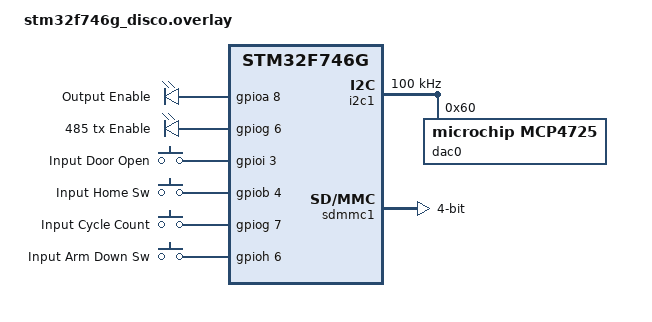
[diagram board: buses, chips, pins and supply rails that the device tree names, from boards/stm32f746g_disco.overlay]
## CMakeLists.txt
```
# CMakeLists.txt

cmake_minimum_required(VERSION 3.20.0)

find_package(Zephyr REQUIRED HINTS $ENV{ZEPHYR_BASE})
project(hvac_sd_config)

add_definitions(-DLV_LVGL_H_INCLUDE_SIMPLE)

target_sources(app
    PRIVATE
        src/main.c
        src/gui.c
)

target_include_directories(app PRIVATE
    ${ZEPHYR_BASE}/../modules/fs/fatfs/include
)
```

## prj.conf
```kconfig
CONFIG_SYS_CLOCK_TICKS_PER_SEC=5000
CONFIG_MAIN_STACK_SIZE=2048

CONFIG_DISPLAY=y
CONFIG_LOG=y
#CONFIG_DISPLAY_LOG_LEVEL_ERR=y
#CONFIG_DISPLAY_LOG_LEVEL_ALL=y
#CONFIG_LOG_BACKEND_UART=y
CONFIG_SHELL=y

CONFIG_LVGL=y
CONFIG_LV_MEM_CUSTOM=y
CONFIG_LV_USE_LOG=y
CONFIG_LV_USE_LABEL=y
CONFIG_LV_USE_BTN=y
CONFIG_LV_USE_ARC=y
CONFIG_LV_USE_IMG=y
CONFIG_LV_USE_MONKEY=y
#CONFIG_LV_FONT_MONTSERRAT_14=y
CONFIG_LV_FONT_MONTSERRAT_18=y
CONFIG_LV_Z_MEM_POOL_SIZE=16384
CONFIG_LV_Z_SHELL=y
CONFIG_LV_Z_USE_FILESYSTEM=y

CONFIG_I2C=y
CONFIG_DAC=y
CONFIG_DAC_MCP4725=y

# STM32 SDMMC/MMC Support
CONFIG_DISK_ACCESS=y
#CONFIG_DISK_ACCESS_STM32_SDMMC=y
CONFIG_MMC_STACK=y
CONFIG_SDMMC_STACK=y

CONFIG_FILE_SYSTEM=y
CONFIG_FAT_FILESYSTEM_ELM=y
CONFIG_FILE_SYSTEM_SHELL=y

# STM32 HAL drivers
# CONFIG_USE_STM32_HAL_SD=y
# DMA support (often used with SDMMC)
CONFIG_DMA=y
CONFIG_CLOCK_CONTROL=y

# Memory Management (increased for SD operations)
CONFIG_HEAP_MEM_POOL_SIZE=32768
CONFIG_MAIN_STACK_SIZE=4096
CONFIG_SYSTEM_WORKQUEUE_STACK_SIZE=4096
CONFIG_ISR_STACK_SIZE=2048

# Power Management (important for SD card)
#CONFIG_PM=y
#CONFIG_PM_DEVICE=y

# Threading and Synchronization
CONFIG_MULTITHREADING=y

CONFIG_SERIAL=y
CONFIG_UART_INTERRUPT_DRIVEN=y

# Logging Configuration
CONFIG_LOG=y
CONFIG_LOG_DEFAULT_LEVEL=3
CONFIG_LOG_BUFFER_SIZE=1024
CONFIG_DISK_LOG_LEVEL_DBG=y
CONFIG_MMC_LOG_LEVEL_DBG=y
CONFIG_FS_LOG_LEVEL_DBG=y
# Threading and Synchronization
CONFIG_MULTITHREADING=y
CONFIG_TIMEOUT_64BIT=y
```

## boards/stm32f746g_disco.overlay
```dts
#include <zephyr/dt-bindings/pinctrl/stm32-pinctrl.h>
#include <zephyr/dt-bindings/gpio/gpio.h>
#include <zephyr/dt-bindings/i2c/i2c.h>

&i2c1 {
//compatible="st,stm32f401";
status = "okay";
clock-frequency = < I2C_BITRATE_STANDARD >;
dac0: mcp4725@60{
compatible = "microchip,mcp4725";
status = "okay";
reg = < 0x60 >;
#io-channel-cells = < 1 >;
};
};

&sdmmc1{
status="okay";
bus-width=<4>;
slot {
compatible="st,stm32-sdmmc-slot";
status="okay";
cap-sd-highspeed;
cap-mmc-highspeed;
bus-width=<4>;
sd-uhs-sdr12;
sd-uhs-sdr25;
mmc{
compatible="zephyr,sdmmc-disk";
status="okay";
disk-name="SD";
};
};
};
&dma2 {
status = "okay";
};

/ {
leds{
compatible="gpio-leds";
outputenable: output_enable {
gpios=<&gpioa 8 GPIO_ACTIVE_HIGH>;
label="Output Enable";
};
rs485txenable: rs485Tx_enable {
gpios=<&gpiog 6 GPIO_ACTIVE_HIGH>;
label="485 tx Enable";
};
};

buttons{
compatible="gpio-keys";
inputdooropen: input_dooropen {
gpios=<&gpioi 3 GPIO_ACTIVE_HIGH>;
label="Input Door Open";
zephyr,code = <INPUT_KEY_0>;
};
inputhomesw: input_homesw {
gpios=<&gpiob 4 GPIO_ACTIVE_HIGH>;
label="Input Home Sw";
zephyr,code = <INPUT_KEY_0>;
};
inputcyclecount: input_cyclecount{
gpios=<&gpiog 7 GPIO_ACTIVE_HIGH>;
label="Input Cycle Count";
zephyr,code = <INPUT_KEY_0>;
};
inputdownswitch: input_downsw{
gpios=<&gpioh 6 GPIO_ACTIVE_HIGH>;
label="Input Arm Down Sw";
zephyr,code = <INPUT_KEY_0>;
};
};

aliases{
outputenable=&outputenable;
rs485txenable=&rs485txenable;
inputdooropen = &inputdooropen;
inputhomesw = &inputhomesw;
inputcyclecount=&inputcyclecount;
inputdownswitch=&inputdownswitch;
// dac0 = &dac0;
// sdcard = &sdmmc1;
// disk0 = "/dev/mmcblk0"; // Linux-style alias
};

};
```

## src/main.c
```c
//TEST PROGRAM   https://community.st.com/t5/stm32cubemx-mcus/how-to-fix-the-problem-quot-invalid-storage-class-for-function/td-p/262682




#include <zephyr/device.h>
#include <zephyr/devicetree.h>
#include <zephyr/drivers/display.h>
#include <zephyr/drivers/gpio.h>
#include <lvgl.h>
#include <stdio.h>
#include <string.h>
#include <zephyr/kernel.h>
#include <lvgl_input_device.h>
#include <zephyr/drivers/i2c.h>
#include <zephyr/drivers/dac.h>
#include <zephyr/drivers/uart.h>
#include <zephyr/storage/disk_access.h>
#include <zephyr/fs/fs.h>
#include <zephyr/fs/fs_interface.h>
#include <zephyr/sd/sd.h>
#include <zephyr/sd/sdmmc.h>
#include <zephyr/logging/log.h>
LOG_MODULE_REGISTER(threads);

// Zephyr 3.7.0 uses different disk naming convention
#define DISK_DRIVE_NAME "SD"
#define DISK_MOUNT_PT "/SD:"

// Card detect configuration
#define CARD_DETECT_NODE DT_GPIO_CTLR(DT_NODELABEL(sdmmc1), cd_gpios)
#if DT_NODE_HAS_PROP(DT_NODELABEL(sdmmc1), cd_gpios)
static const struct gpio_dt_spec card_detect = GPIO_DT_SPEC_GET(DT_NODELABEL(sdmmc1), cd_gpios);
#define HAS_CARD_DETECT 1
#else
#define HAS_CARD_DETECT 0
#endif


// File system mount point
static struct fs_mount_t fs_mnt = {
    .type = FS_FATFS,
    .mnt_point = DISK_MOUNT_PT,
};

static bool sd_card_mounted = false;
static const struct device *sd_dev;


// Check card presence
static bool is_card_present(void)
{
#if HAS_CARD_DETECT
    if (!device_is_ready(card_detect.port)) {
        return true;  // Assume present if detect not available
    }
    return !gpio_pin_get_dt(&card_detect);  // Usually active low
#else
    return true;  // Always assume present if no detect pin
#endif
}

// Initialize card detect GPIO
static int init_card_detect(void)
{
#if HAS_CARD_DETECT
    if (!device_is_ready(card_detect.port)) {
        LOG_ERR("Card detect GPIO not ready");
        return -ENODEV;
    }
    
    int ret = gpio_pin_configure_dt(&card_detect, GPIO_INPUT);
    if (ret < 0) {
        LOG_ERR("Failed to configure card detect pin: %d", ret);
        return ret;
    }
    
    LOG_INF("Card detect initialized on %s pin %d", 
            card_detect.port->name, card_detect.pin);
#endif
    return 0;
}

// Modern SD card initialization for Zephyr 3.7.0
static int setup_sd_card(void)
{
    int ret;
    
    // Get SD device
    sd_dev = DEVICE_DT_GET(DT_NODELABEL(sdmmc1));
    if (!device_is_ready(sd_dev)) {
        LOG_ERR("SD device not ready");
        return -ENODEV;
    }
    
    // Power on SD card
    // ret = sd_power_on();
    // if (ret < 0) {
    //     LOG_WRN("SD power control failed: %d", ret);
    // }
    
    // Check card presence
    if (!is_card_present()) {
        LOG_WRN("SD card not detected");
        return -ENODEV;
    }
    
    // Initialize disk access
    ret = disk_access_init(DISK_DRIVE_NAME);
    if (ret != 0) {
        LOG_ERR("SD disk access init failed: %d", ret);
        return ret;
    }
    
    // Get disk info
    uint32_t sector_count, sector_size;
    ret = disk_access_ioctl(DISK_DRIVE_NAME, DISK_IOCTL_GET_SECTOR_COUNT, &sector_count);
    if (ret) {
        LOG_ERR("Failed to get sector count: %d", ret);
        return ret;
    }
    
    ret = disk_access_ioctl(DISK_DRIVE_NAME, DISK_IOCTL_GET_SECTOR_SIZE, &sector_size);
    if (ret) {
        LOG_ERR("Failed to get sector size: %d", ret);
        return ret;
    }
    
    uint64_t total_size = (uint64_t)sector_count * sector_size;
    LOG_INF("SD card detected: %u sectors, %u bytes/sector, %u MB total",
            sector_count, sector_size, (uint32_t)(total_size >> 20));
    
    // Mount file system
    ret = fs_mount(&fs_mnt);
    if (ret != 0) {
        LOG_ERR("Failed to mount file system: %d", ret);
        return ret;
    }
    
    LOG_INF("SD card mounted at %s", DISK_MOUNT_PT);
    sd_card_mounted = true;
    return 0;
}

// LVGL file system driver implementation
static void* lvgl_sd_open(lv_fs_drv_t* drv, const char* path, lv_fs_mode_t mode)
{
    if (!sd_card_mounted) {
        LOG_WRN("SD card not mounted");
        return NULL;
    }
    
    char full_path[256];
    snprintf(full_path, sizeof(full_path), "%s/%s", DISK_MOUNT_PT, path);
    
    struct fs_file_t* file = k_malloc(sizeof(struct fs_file_t));
    if (!file) {
        LOG_ERR("Failed to allocate file structure");
        return NULL;
    }
    
    int flags = 0;
    if (mode & LV_FS_MODE_RD) flags |= FS_O_READ;
    if (mode & LV_FS_MODE_WR) flags |= FS_O_WRITE | FS_O_CREATE;
    
    int ret = fs_open(file, full_path, flags);
    if (ret < 0) {
        LOG_ERR("Failed to open %s: %d", full_path, ret);
        k_free(file);
        return NULL;
    }
    
    LOG_DBG("Opened file: %s", full_path);
    return file;
}

static lv_fs_res_t lvgl_sd_close(lv_fs_drv_t* drv, void* file_p)
{
    struct fs_file_t* file = (struct fs_file_t*)file_p;
    fs_close(file);
    k_free(file);
    return LV_FS_RES_OK;
}

static lv_fs_res_t lvgl_sd_read(lv_fs_drv_t* drv, void* file_p, void* buf, 
                                uint32_t btr, uint32_t* br)
{
    struct fs_file_t* file = (struct fs_file_t*)file_p;
    ssize_t result = fs_read(file, buf, btr);
    if (result < 0) {
        LOG_ERR("File read error: %d", (int)result);
        return LV_FS_RES_UNKNOWN;
    }
    *br = result;
    return LV_FS_RES_OK;
}

static lv_fs_res_t lvgl_sd_write(lv_fs_drv_t* drv, void* file_p, const void* buf, 
                                 uint32_t btw, uint32_t* bw)
{
    struct fs_file_t* file = (struct fs_file_t*)file_p;
    ssize_t result = fs_write(file, buf, btw);
    if (result < 0) {
        LOG_ERR("File write error: %d", (int)result);
        return LV_FS_RES_UNKNOWN;
    }
    *bw = result;
    return LV_FS_RES_OK;
}

static lv_fs_res_t lvgl_sd_seek(lv_fs_drv_t* drv, void* file_p, uint32_t pos, 
                                lv_fs_whence_t whence)
{
    struct fs_file_t* file = (struct fs_file_t*)file_p;
    int zephyr_whence;
    
    switch (whence) {
        case LV_FS_SEEK_SET: zephyr_whence = FS_SEEK_SET; break;
        case LV_FS_SEEK_CUR: zephyr_whence = FS_SEEK_CUR; break;
        case LV_FS_SEEK_END: zephyr_whence = FS_SEEK_END; break;
        default: return LV_FS_RES_UNKNOWN;
    }
    
    int ret = fs_seek(file, pos, zephyr_whence);
    return (ret == 0) ? LV_FS_RES_OK : LV_FS_RES_UNKNOWN;
}

static lv_fs_res_t lvgl_sd_tell(lv_fs_drv_t* drv, void* file_p, uint32_t* pos_p)
{
    struct fs_file_t* file = (struct fs_file_t*)file_p;
    off_t pos = fs_tell(file);
    if (pos < 0) return LV_FS_RES_UNKNOWN;
    *pos_p = pos;
    return LV_FS_RES_OK;
}

// Register LVGL file system driver
static void setup_lvgl_fs_driver(void)
{
    static lv_fs_drv_t fs_drv;
    lv_fs_drv_init(&fs_drv);
    
    fs_drv.letter = 'S';  // Access SD files with "S:" prefix
    fs_drv.open_cb = lvgl_sd_open;
    fs_drv.close_cb = lvgl_sd_close;
    fs_drv.read_cb = lvgl_sd_read;
    fs_drv.write_cb = lvgl_sd_write;
    fs_drv.seek_cb = lvgl_sd_seek;
    fs_drv.tell_cb = lvgl_sd_tell;
    
    lv_fs_drv_register(&fs_drv);
    LOG_INF("LVGL SD file system driver registered");
}


// Shell command for SD card info
static int cmd_sd_info(const struct shell *shell, size_t argc, char **argv)
{
    if (!sd_card_mounted) {
        printk(shell, "SD card not mounted");
        return -ENODEV;
    }
    
    struct fs_statvfs stats;
    int ret = fs_statvfs(DISK_MOUNT_PT, &stats);
    if (ret == 0) {
        uint64_t total_space = (uint64_t)stats.f_frsize * stats.f_blocks;
        uint64_t free_space = (uint64_t)stats.f_frsize ;
        
        printk(shell, "SD Card Information:");
        printk(shell, "  Total space: %u MB", (uint32_t)(total_space >> 20));
        printk(shell, "  Free space:  %u MB", (uint32_t)(free_space >> 20));
        printk(shell, "  Used space:  %u MB", 
                    (uint32_t)((total_space - free_space) >> 20));
    }
    
    return 0;
}

//SHELL_CMD_REGISTER(sd_info, NULL, "Show SD card information", cmd_sd_info);

// Performance benchmark
static void benchmark_sd_card(void)
{
    if (!sd_card_mounted) {
        LOG_WRN("SD card not mounted, skipping benchmark");
        return;
    }
    
    const size_t test_size = 64 * 1024;  // 64KB test
    uint8_t* buffer = k_malloc(test_size);
    if (!buffer) {
        LOG_ERR("Failed to allocate benchmark buffer");
        return;
    }
    
    // Fill with test data
    for (size_t i = 0; i < test_size; i++) {
        buffer[i] = i & 0xFF;
    }
    
    char test_file[256];
    snprintf(test_file, sizeof(test_file), "%s/benchmark.dat", DISK_MOUNT_PT);
    
    // Write test
    struct fs_file_t file;
    uint32_t start_time = k_uptime_get_32();
    
    int ret = fs_open(&file, test_file, FS_O_CREATE | FS_O_WRITE);
    if (ret == 0) {
        ssize_t written = fs_write(&file, buffer, test_size);
        fs_close(&file);
        
        uint32_t write_time = k_uptime_get_32() - start_time;
        if (written == test_size && write_time > 0) {
            uint32_t write_speed = (test_size * 1000) / (write_time * 1024);
            LOG_INF("Write speed: %u KB/s (%u bytes in %u ms)",
                    write_speed, test_size, write_time);
        }
    }
    
    // Read test
    start_time = k_uptime_get_32();
    ret = fs_open(&file, test_file, FS_O_READ);
    if (ret == 0) {
        ssize_t read_bytes = fs_read(&file, buffer, test_size);
        fs_close(&file);
        
        uint32_t read_time = k_uptime_get_32() - start_time;
        if (read_bytes == test_size && read_time > 0) {
            uint32_t read_speed = (test_size * 1000) / (read_time * 1024);
            LOG_INF("Read speed: %u KB/s (%u bytes in %u ms)",
                    read_speed, test_size, read_time);
        }
    }
    
    fs_unlink(test_file);  // Clean up
    k_free(buffer);
}


void sdCard_thread(void*a, void*b, void*c){
	k_sleep(K_MSEC(1000));
 LOG_INF("Starting Zephyr 3.7.0 LVGL with STM32 SDMMC");
    
    // Initialize display
    // const struct device* display_dev = DEVICE_DT_GET(DT_CHOSEN(zephyr_display));
    // if (!device_is_ready(display_dev)) {
    //     LOG_ERR("Display device not ready");
    //     return -ENODEV;
    // }
    
    // Initialize card detect
    init_card_detect();
    
    // Initialize SD card
    int sd_result = setup_sd_card();
    if (sd_result == 0) {
        LOG_INF("SD card initialized successfully");
        setup_lvgl_fs_driver();
        //benchmark_sd_card();
    } else {
        LOG_ERR("SD card initialization failed: %d", sd_result);
    }
    
    
    LOG_INF("Entering main loop");
    
    while (1) {
        // Handle card insertion/removal
        static bool last_card_state = false;
        bool current_card_state = is_card_present();
        
        if (current_card_state != last_card_state) {
            if (current_card_state && !sd_card_mounted) {
                LOG_INF("Card inserted, mounting...");
                if (setup_sd_card() == 0) {
                    printk("Card setup ok.");
                }
            } else if (!current_card_state && sd_card_mounted) {
                LOG_INF("Card removed");
                fs_unmount(&fs_mnt);
                sd_card_mounted = false;
                printk("card removed");
            }
            last_card_state = current_card_state;
        }
        
        lv_timer_handler();
        k_msleep(10);
    }
    
    return 0;
}
```
